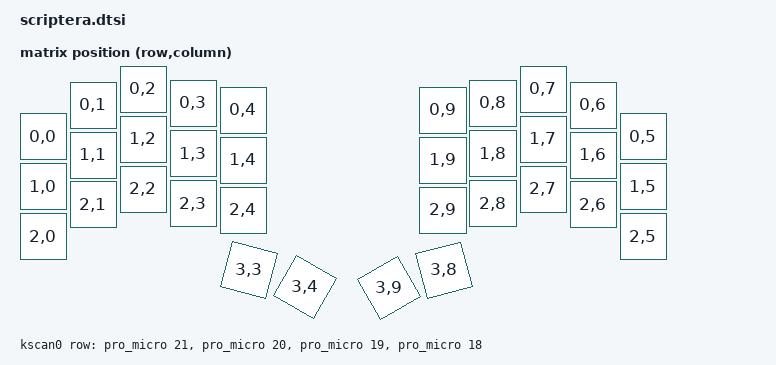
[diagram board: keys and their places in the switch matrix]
#include <dt-bindings/zmk/matrix_transform.h>
#include <physical_layouts.dtsi>

/ {
    chosen {
        zmk,physical-layout = &default_layout;
        zmk,kscan = &kscan0;
        zmk,matrix-transform = &default_transform;
    };

    default_transform: keymap_transform_0 {
        compatible = "zmk,matrix-transform";
        columns = <10>;
        rows = <4>;
        map = <
            RC(0,0)     RC(0,1)     RC(0,2)     RC(0,3)     RC(0,4)         RC(0,9)     RC(0,8)     RC(0,7)     RC(0,6)     RC(0,5)
            RC(1,0)     RC(1,1)     RC(1,2)     RC(1,3)     RC(1,4)         RC(1,9)     RC(1,8)     RC(1,7)     RC(1,6)     RC(1,5)
            RC(2,0)     RC(2,1)     RC(2,2)     RC(2,3)     RC(2,4)         RC(2,9)     RC(2,8)     RC(2,7)     RC(2,6)     RC(2,5)
                                                RC(3,3)     RC(3,4)         RC(3,9)     RC(3,8)
        >;
    };

    kscan0: kscan {        
        compatible = "zmk,kscan-gpio-matrix";

        diode-direction = "col2row";

        row-gpios
            = <&pro_micro 21 (GPIO_ACTIVE_HIGH | GPIO_PULL_DOWN)> // ROW0
            , <&pro_micro 20 (GPIO_ACTIVE_HIGH | GPIO_PULL_DOWN)> // ROW1
            , <&pro_micro 19 (GPIO_ACTIVE_HIGH | GPIO_PULL_DOWN)> // ROW2
            , <&pro_micro 18 (GPIO_ACTIVE_HIGH | GPIO_PULL_DOWN)> // ROW3
        ;
    };

    default_layout: default_layout {
        compatible = "zmk,physical-layout";
        display-name = "Scriptera Default";
        transform = <&default_transform>;
        kscan = <&kscan0>;
        keys  //                     w   h    x    y     rot    rx    ry
            = <&key_physical_attrs 100 100    0   95       0     0     0>
            , <&key_physical_attrs 100 100  100   32       0     0     0>
            , <&key_physical_attrs 100 100  200    0       0     0     0>
            , <&key_physical_attrs 100 100  300   28       0     0     0>
            , <&key_physical_attrs 100 100  400   42       0     0     0>
            , <&key_physical_attrs 100 100  800   42       0     0     0>
            , <&key_physical_attrs 100 100  900   28       0     0     0>
            , <&key_physical_attrs 100 100 1000    0       0     0     0>
            , <&key_physical_attrs 100 100 1100   32       0     0     0>
            , <&key_physical_attrs 100 100 1200   95       0     0     0>
            , <&key_physical_attrs 100 100    0  195       0     0     0>
            , <&key_physical_attrs 100 100  100  132       0     0     0>
            , <&key_physical_attrs 100 100  200  100       0     0     0>
            , <&key_physical_attrs 100 100  300  129       0     0     0>
            , <&key_physical_attrs 100 100  400  142       0     0     0>
            , <&key_physical_attrs 100 100  800  142       0     0     0>
            , <&key_physical_attrs 100 100  900  129       0     0     0>
            , <&key_physical_attrs 100 100 1000  100       0     0     0>
            , <&key_physical_attrs 100 100 1100  132       0     0     0>
            , <&key_physical_attrs 100 100 1200  195       0     0     0>
            , <&key_physical_attrs 100 100    0  295       0     0     0>
            , <&key_physical_attrs 100 100  100  231       0     0     0>
            , <&key_physical_attrs 100 100  200  200       0     0     0>
            , <&key_physical_attrs 100 100  300  229       0     0     0>
            , <&key_physical_attrs 100 100  400  242       0     0     0>
            , <&key_physical_attrs 100 100  800  242       0     0     0>
            , <&key_physical_attrs 100 100  900  229       0     0     0>
            , <&key_physical_attrs 100 100 1000  200       0     0     0>
            , <&key_physical_attrs 100 100 1100  231       0     0     0>
            , <&key_physical_attrs 100 100 1200  295       0     0     0>
            , <&key_physical_attrs 100 100  400  355    1500   430   455>
            , <&key_physical_attrs 100 100  500  325    3000   430   455>
            , <&key_physical_attrs 100 100  700  385 (-3000)   770   455>
            , <&key_physical_attrs 100 100  810  385 (-1500)   770   455>
            ;
    };

    position_map {
        compatible = "zmk,physical-layout-position-map";

        complete;

        default_layout {
            physical-layout = <&default_layout>;
            positions = <>;
        };
    };
};

&pinctrl {
    spi0_default: spi0_default {
        group1 {
            psels =
                <NRF_PSEL(SPIM_SCK,  0, 22)>,
                <NRF_PSEL(SPIM_MOSI, 0, 24)>,
                <NRF_PSEL(SPIM_MISO, 0, 24)>;
        };
    };

    spi0_sleep: spi0_sleep {
        group1 {
            psels =
                <NRF_PSEL(SPIM_SCK,  0, 22)>,
                <NRF_PSEL(SPIM_MOSI, 0, 24)>,
                <NRF_PSEL(SPIM_MISO, 0, 24)>;
            low-power-enable;
        };
    };
};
